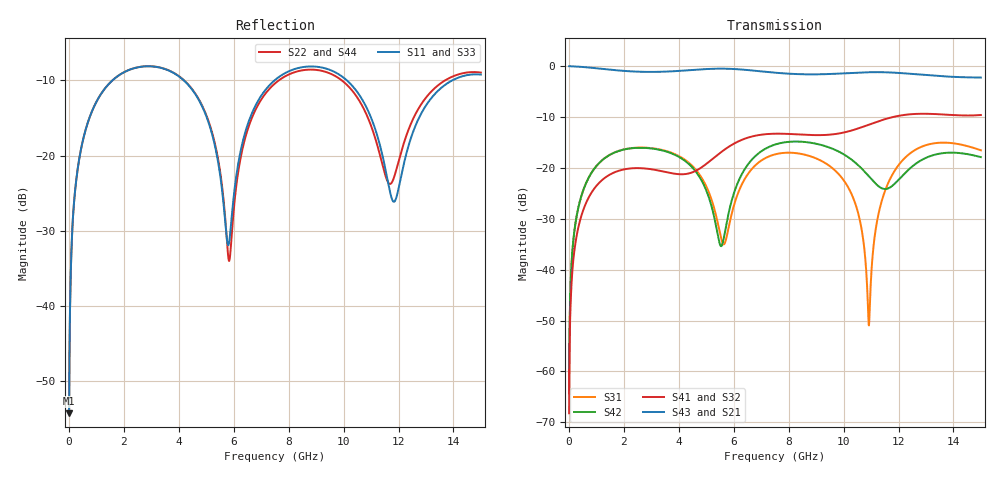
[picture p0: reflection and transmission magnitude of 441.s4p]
! Created with skrf 1.8.0 (http://scikit-rf.org).
# GHz S RI R 50.0
!freq ReS11 ImS11 ReS12 ImS12 ReS13 ImS13
! ReS14 ImS14
! ReS21 ImS21 ReS22 ImS22 ReS23 ImS23
! ReS24 ImS24
! ReS31 ImS31 ReS32 ImS32 ReS33 ImS33
! ReS34 ImS34
! ReS41 ImS41 ReS42 ImS42 ReS43 ImS43
! ReS44 ImS44
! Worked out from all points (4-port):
!   2499 points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, 5 MHz to 15 GHz, reference 50 ohm
!   strongest paths, dB at 5 MHz, 3.476 GHz, 7.19 GHz, 11.1 GHz, 15 GHz:
!     S43: 0.0, -1.1, -1.1, -1.2, -2.2
!     S21: 0.0, -1.1, -1.1, -1.2, -2.2
!     S41: -68.2, -20.8, -13.4, -11.2, -9.6
!     S32: -68.2, -20.8, -13.4, -11.2, -9.6
!     S42: -64.3, -16.7, -16.1, -22.7, -17.9
!     S31: -64.3, -16.6, -18.0, -35.0, -16.5
!   lowest |S11| = -54.3 dB at 5 MHz (marker M1), VSWR 1.00, Z = 50.2 + j0.118 ohm
!   |S11| at or under -10 dB: start of sweep to 1.582 GHz; 4.182 GHz to 7.485 GHz (3.303 GHz wide, 56.6 % of centre); 10.12 GHz to 13.96 GHz (3.836 GHz wide, 31.9 % of centre)
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0.005  0.00154 0.00117  0.9984 -0.003  7.69e-05 0.000605  -7.48e-05 -0.00038
       0.9984 -0.003  0.00154 0.00117  -7.48e-05 -0.00038  7.69e-05 0.000605
       7.69e-05 0.000605  -7.48e-05 -0.00038  0.00154 0.00117  0.9984 -0.003
       -7.48e-05 -0.00038  7.69e-05 0.000605  0.9984 -0.003  0.00154 0.00117
0.3126303  0.0216 0.0775  0.9705 -0.1872  0.00978 0.0362  -0.00814 -0.0225
           0.9705 -0.1872  0.0217 0.0775  -0.00813 -0.0225  0.00972 0.0362
           0.00978 0.0362  -0.00813 -0.0225  0.0217 0.0775  0.9705 -0.1872
           -0.00814 -0.0225  0.00972 0.0362  0.9705 -0.1872  0.0217 0.0775
1.569404  0.2549 0.1846  0.5819 -0.7103  0.1222 0.0646  -0.0874 -0.0114
          0.5819 -0.7103  0.2553 0.1843  -0.0873 -0.0115  0.1212 0.0659
          0.1222 0.0646  -0.0873 -0.0115  0.255 0.1845  0.5819 -0.7103
          -0.0874 -0.0114  0.1212 0.0659  0.5819 -0.7103  0.2552 0.1844
5.677366  0.0271 -0.0275  -0.9321 -0.1432  -0.0172 0.00622  -0.0176 0.151
          -0.9321 -0.1432  0.0224 -0.0343  -0.0199 0.1507  0.02 0.0119
          -0.0172 0.00622  -0.0199 0.1507  0.0271 -0.0274  -0.9321 -0.143
          -0.0176 0.151  0.02 0.0119  -0.9321 -0.143  0.0222 -0.0341
9.078783  0.3858 -0.0485  0.0262 0.8302  0.1089 -0.0533  0.2001 -0.0626
          0.0262 0.8302  0.3688 -0.029  0.2 -0.0573  0.1105 -0.1302
          0.1089 -0.0533  0.2 -0.0573  0.3868 -0.052  0.0263 0.83
          0.2001 -0.0626  0.1105 -0.1302  0.0263 0.83  0.3689 -0.0252
10.9233  0.1204 -0.1508  0.727 0.4791  -0.00283 -0.000129  0.1371 -0.228
         0.727 0.4791  0.1232 -0.1197  0.1445 -0.2234  -0.0642 -0.0517
         -0.00283 -0.000129  0.1445 -0.2234  0.1154 -0.1544  0.7269 0.4789
         0.1371 -0.228  -0.0642 -0.0517  0.7269 0.4789  0.1293 -0.1163
15  0.3456 -0.00708  0.00505 -0.7732  0.0422 -0.1428  -0.3297 0.0275
    0.00505 -0.7732  0.3563 -0.0124  -0.3303 0.0155  0.035 -0.1227
    0.0422 -0.1428  -0.3303 0.0155  0.3486 -0.000268  0.0051 -0.7721
    -0.3297 0.0275  0.035 -0.1227  0.0051 -0.7721  0.3582 -0.0198
